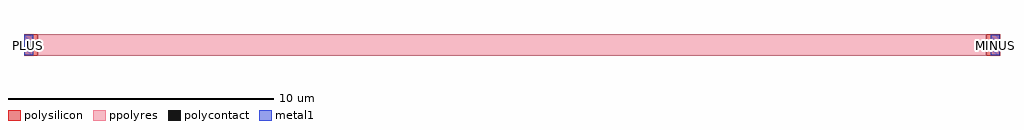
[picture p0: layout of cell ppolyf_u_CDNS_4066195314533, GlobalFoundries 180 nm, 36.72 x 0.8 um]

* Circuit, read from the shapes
.subckt ppolyf_u_CDNS_4066195314533 MINUS PLUS
XR1 MINUS PLUS VSUBS ppolyf_u r_width=0.8u r_length=35.7u
.ends

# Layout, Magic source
magic
tech gf180mcuD
magscale 1 10
<< polysilicon >>
rect 0 103 102 160
rect 0 57 13 103
rect 59 57 102 103
rect 0 0 102 57
rect 7242 103 7344 160
rect 7242 57 7285 103
rect 7331 57 7344 103
rect 7242 0 7344 57
<< polycontact >>
rect 13 57 59 103
rect 7285 57 7331 103
<< ppolyres >>
rect 102 0 7242 160
<< metal1 >>
rect 2 103 70 158
rect 2 57 13 103
rect 59 57 70 103
rect 2 2 70 57
rect 7274 103 7342 158
rect 7274 57 7285 103
rect 7331 57 7342 103
rect 7274 2 7342 57
<< labels >>
rlabel polycontact 7308 80 7308 80 4 MINUS
rlabel polycontact 36 80 36 80 4 PLUS
<< end >>
